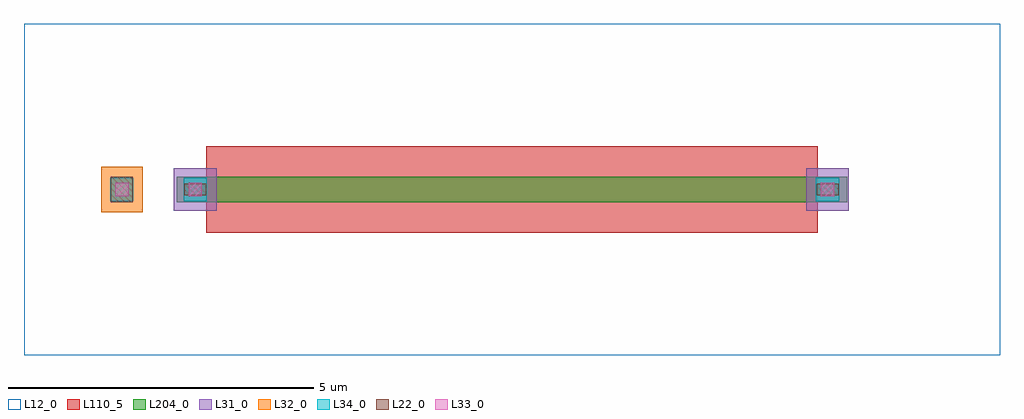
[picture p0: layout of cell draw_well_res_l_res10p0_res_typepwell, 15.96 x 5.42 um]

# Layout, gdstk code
import gdstk
lib = gdstk.Library(unit=1e-6, precision=1e-09)
def R(c, l, rs):  # rectangles x0, y0, x1, y1
    for r in rs: c.add(gdstk.rectangle(r[:2], r[2:], *l))
L12_0 = (12, 0)
L22_0 = (22, 0)
L31_0 = (31, 0)
L32_0 = (32, 0)
L33_0 = (33, 0)
L34_0 = (34, 0)
L110_5 = (110, 5)
L204_0 = (204, 0)

draw_well_res_l_res10p0_ = lib.new_cell('draw_well_res_l_res10p0_res_typepwell')
R(draw_well_res_l_res10p0_, L12_0, [(-2.98,-2,12.98,3.42)])
R(draw_well_res_l_res10p0_, L22_0, [(-1.56,0.5,-1.2,0.92), (-0.36,0.62,0,0.8), (9.98,0.62,10.34,0.8)])
R(draw_well_res_l_res10p0_, L31_0, [(-0.53,0.36,0.17,1.06), (9.81,0.36,10.51,1.06)])
R(draw_well_res_l_res10p0_, L32_0, [(-1.72,0.34,-1.04,1.08)])
R(draw_well_res_l_res10p0_, L33_0, [(-1.49,0.6,-1.27,0.82), (-0.29,0.6,-0.07,0.82), (10.05,0.6,10.27,0.82)])
R(draw_well_res_l_res10p0_, L34_0, [(-1.57,0.52,-1.19,0.9), (-0.37,0.52,0.01,0.9), (9.97,0.52,10.35,0.9)])
R(draw_well_res_l_res10p0_, L110_5, [(0,0,10,1.42)])
R(draw_well_res_l_res10p0_, L204_0, [(-0.48,0.5,10.48,0.92)])

lib.write_gds('draw_well_res_l_res10p0_res_typepwell.gds')
